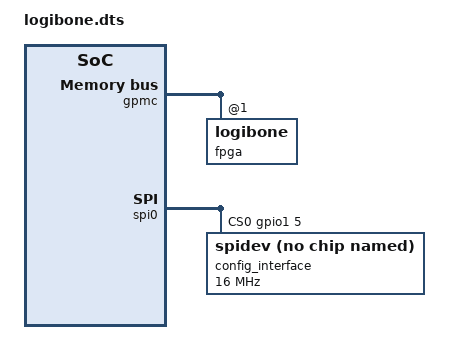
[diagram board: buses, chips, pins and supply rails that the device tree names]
/*
 * Copyright (C) 2013 ValentFX
 *
 * This program is free software; you can redistribute it and/or modify
 * it under the terms of the GNU General Public License version 2 as
 * published by the Free Software Foundation.
 */
/dts-v1/;
/plugin/;

/ {
	compatible = "ti,beaglebone", "ti,beaglebone-black";

	/* identification */
	part-number = "BB-BONE-LOGIBONE";
	version = "00A1";

	#address-cells = <1>;
	#size-cells = <1>;

	fragment@0 {
		target = <&am33xx_pinmux>;
		__overlay__ {

			gpmc_pins: pinmux_gpmc_pins {
				pinctrl-single,pins = <
					0x000 0x30	/* gpmc_ad0.gpmc_ad0 MODE0 | INPUT | PULLUP */
					0x004 0x30	/* gpmc_ad1.gpmc_ad1 MODE0 | INPUT | PULLUP */
					0x008 0x30	/* gpmc_ad2.gpmc_ad2 MODE0 | INPUT | PULLUP */
					0x00C 0x30	/* gpmc_ad3.gpmc_ad3 MODE0 | INPUT | PULLUP */
					0x010 0x30	/* gpmc_ad4.gpmc_ad4 MODE0 | INPUT | PULLUP */
					0x014 0x30	/* gpmc_ad5.gpmc_ad5 MODE0 | INPUT | PULLUP */
					0x018 0x30	/* gpmc_ad6.gpmc_ad6 MODE0 | INPUT | PULLUP */
					0x01C 0x30	/* gpmc_ad7.gpmc_ad7 MODE0 | INPUT | PULLUP */
					0x020 0x30	/* gpmc_ad8.gpmc_ad8 MODE0 | INPUT | PULLUP */
					0x024 0x30	/* gpmc_ad9.gpmc_ad9 MODE0 | INPUT | PULLUP */
					0x028 0x30	/* gpmc_ad10.gpmc_ad10 MODE0 | INPUT | PULLUP */
					0x02C 0x30	/* gpmc_ad11.gpmc_ad11 MODE0 | INPUT | PULLUP */
					0x030 0x30	/* gpmc_ad12.gpmc_ad12 MODE0 | INPUT | PULLUP */
					0x034 0x30	/* gpmc_ad13.gpmc_ad13 MODE0 | INPUT | PULLUP */
					0x038 0x30	/* gpmc_ad14.gpmc_ad14 MODE0 | INPUT | PULLUP */
					0x03C 0x30	/* gpmc_ad15.gpmc_ad15 MODE0 | INPUT | PULLUP */
					0x074 0x30	/* gpmc_wpn.gpmc_wpn MODE0 | INPUT | PULLUP */ /* WAS MODE 7 */
					0x078 0x08	/* gpmc_ben0_cle.gpmc_ben1 MODE0 | OUTPUT */
					0x080 0x08	/* gpmc_wait0.gpmc_cscn1 MODE0 | OUTPUT */
					0x08C 0x28	/* gpmc_clk.gpmc_clk MODE0 | INPUT */
					0x090 0x08	/* gpmc_advn_ale.gpmc_advn_ale MODE0 | OUTPUT */
					0x094 0x08	/* gpmc_oen_ren.gpmc_oen_ren MODE0 | OUTPUT */
					0x098 0x08	/* gpmc_wen.gpmc_wen MODE0 | OUTPUT */
					0x09C 0x08	/* gpmc_ben0_cle.gpmc_ben0_cle MODE0 | OUTPUT */
					

					
				>;
			};
			fpga_config_pins: pinmux_fpga_config_pins {
				pinctrl-single,pins = <
					/* config init */
					0x0b0 0x17	/* lcd_data_4 MODE7 | OUTPUT, CFG_PROG_B */
					0x0a8 0x37	/* lcd_data_2 MODE7 | INPUT, CFG_INIT_B */
					0x0a0 0x37	/* lcd_data_0 MODE7 | INPUT,  CFG_DONE */

					/* config clk and data */
					0x158 0x10	/* spi0_d1.gpio0_4 MODE0 | OUTPUT, serial data config */
					0x150 0x10	/* spi0_sclk.gpio0_2 MODE0 | OUTPUT | PULLUP, serial clock config  */
				>;
			};
		};
	};

	fragment@1 {
		target = <&gpmc>;
		depth = <1>;	/* only create devices on depth 1 */

		/* stupid warnings */
		#address-cells = <1>;
		#size-cells = <1>;
		ranges;

		__overlay__ {

			status = "okay";

			#address-cells = <2>;
			#size-cells = <1>;

			pinctrl-names = "default";
			pinctrl-0 = <&gpmc_pins>;

			/* chip select ranges */
			ranges = <0 0 0x08000000 0x10000000>,	/* bootloader has this enabled */
				 <1 0 0x18000000 0x08000000>,
				 <2 0 0x20000000 0x08000000>,
				 <3 0 0x28000000 0x08000000>,
				 <4 0 0x30000000 0x08000000>,
				 <5 0 0x38000000 0x04000000>,
				 <6 0 0x3c000000 0x04000000>;

			fpga {
				compatible = "logibone";
				status = "okay";
				pinctrl-names = "default";
				pinctrl-0 = <&fpga_config_pins>;

				reg = <1 0 0x01000000>;		/* CS1 */

				bank-width = <2>;		/* GPMC_CONFIG1_DEVICESIZE(1) */

				gpmc,async-read;			/* GPMC_CONFIG1_READTYPE_SYNC */
				gpmc,async-write;		/* GPMC_CONFIG1_WRITETYPE_SYNC */
				gpmc,clk-activation-ns = <20>;	/* GPMC_CONFIG1_CLKACTIVATIONTIME(2) */
				gpmc,burst-length = <16>;	/* GPMC_CONFIG1_PAGE_LEN(2) */
				gpmc,mux-add-data = <2>;	/* GPMC_CONFIG1_MUXTYPE(2) */

				gpmc,sync-clk-ps = <10000>;	/* CONFIG2 */

				gpmc,cs-on-ns = <0>;
				gpmc,cs-rd-off-ns = <40>;
				gpmc,cs-wr-off-ns = <40>;

				gpmc,adv-on-ns = <0>;		/* CONFIG3 */
				gpmc,adv-rd-off-ns = <10>;
				gpmc,adv-wr-off-ns = <10>;

				gpmc,we-on-ns = <20>;		/* CONFIG4 */
				gpmc,we-off-ns = <40>;
				gpmc,oe-on-ns = <20>;
				gpmc,oe-off-ns = <40>;

				gpmc,page-burst-access-ns = <20>;	/* CONFIG 5 */
				gpmc,access-ns = <140>;
				gpmc,rd-cycle-ns = <50>;
				gpmc,wr-cycle-ns = <50>;
				gpmc,wr-access-ns = <100>;		/* CONFIG 6 */
				gpmc,wr-data-mux-bus-ns = <20>;

				gpmc,bus-turnaround-ns = <0>;		/* CONFIG6:3:0 = 4 */
				gpmc,cycle2cycle-samecsen;		/* CONFIG6:7 = 1 */
				gpmc,cycle2cycle-delay-ns = <0>;	/* CONFIG6:11:8 = 4 */

				/* not using dma engine yet, but we can get the channel number here */
				dmas = <&edma 20>;
				dma-names = "logibone";

			};

		};
	};

	fragment@2 {
		target = <&spi0>;
		__overlay__ {
			#address-cells = <1>;
			#size-cells = <0>;
			status			= "okay";
			pinctrl-names	= "default";
			pinctrl-0	= <&fpga_config_pins>;	
			
			cs-gpios = <&gpio1 5 0>;

			init-gpio = <&gpio3 8 1>;
			done-gpio = <&gpio3 6 1>;
			prog-gpio = <&gpio3 10 0>;

			config_interface{
				#address-cells = <1>;
				#size-cells = <0>;

				compatible = "spidev";

				reg = <0>;
				spi-max-frequency = <16000000>;

			};

		};
	};

};
